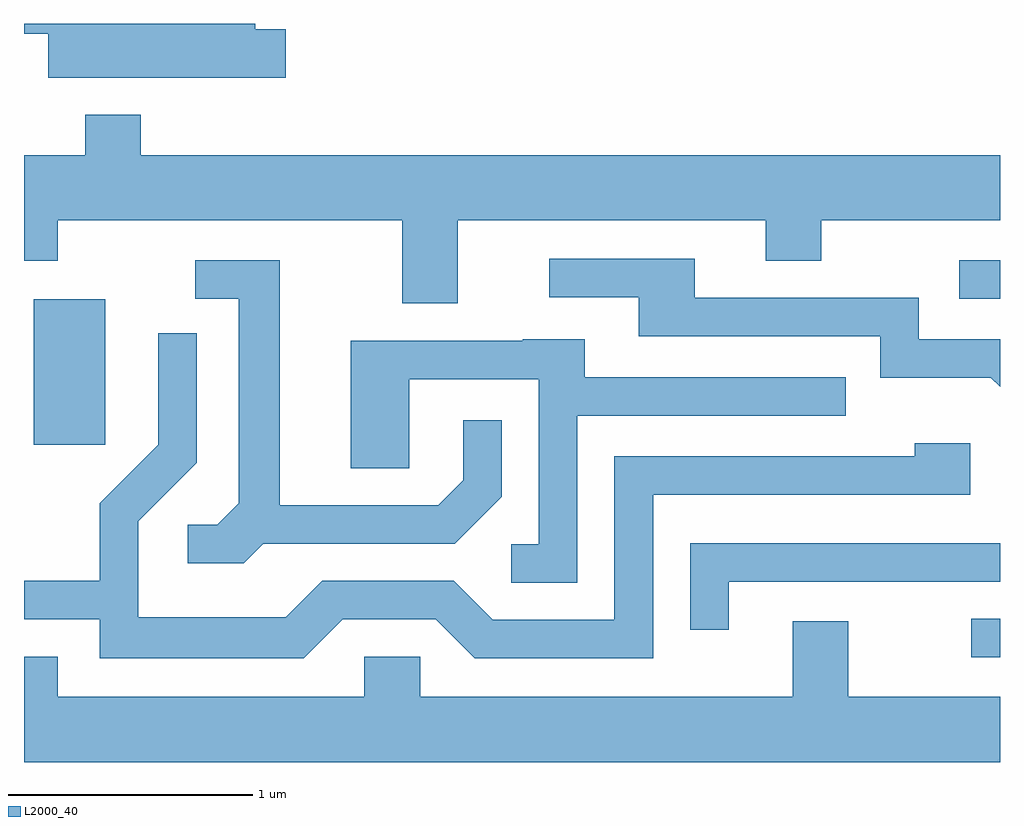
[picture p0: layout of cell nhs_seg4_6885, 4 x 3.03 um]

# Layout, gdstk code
import gdstk
lib = gdstk.Library(unit=1e-6, precision=1e-09)
def R(c, l, rs):  # rectangles x0, y0, x1, y1
    for r in rs: c.add(gdstk.rectangle(r[:2], r[2:], *l))
def P(c, l, *ps):  # polygons
    for p in ps: c.add(gdstk.Polygon(p, *l))
L2000_40 = (2000, 40)

nhs_seg4_6885 = lib.new_cell('nhs_seg4_6885')
R(nhs_seg4_6885, L2000_40, [(391.493,1297.386,391.611,1297.544), (387.651,1298.256,387.944,1298.854), (391.443,1298.856,391.611,1299.014)])
P(nhs_seg4_6885, L2000_40, [(388.684,1299.959),(388.559,1299.959),(388.559,1299.982),(387.611,1299.982),(387.611,1299.941),(387.711,1299.941),(387.711,1299.761),(388.684,1299.761)],
  [(389.389,1299.176),(390.651,1299.176),(390.651,1299.011),(390.879,1299.011),(390.879,1299.176),(391.611,1299.176),(391.611,1299.444),(388.089,1299.444),(388.089,1299.609),(387.861,1299.609),(387.861,1299.444),(387.611,1299.444),(387.611,1299.011),(387.749,1299.011),(387.749,1299.176),(389.161,1299.176),(389.161,1298.836),(389.389,1298.836)],
  [(391.611,1298.689),(391.279,1298.689),(391.279,1298.859),(390.359,1298.859),(390.359,1299.019),(389.763,1299.019),(389.763,1298.861),(390.131,1298.861),(390.131,1298.701),(391.121,1298.701),(391.121,1298.531),(391.574,1298.531),(391.611,1298.494)],
  [(388.592,1297.851),(389.377,1297.851),(389.569,1298.044),(389.569,1298.358),(389.411,1298.358),(389.411,1298.112),(389.309,1298.009),(388.659,1298.009),(388.659,1299.014),(388.313,1299.014),(388.313,1298.856),(388.491,1298.856),(388.491,1298.017),(388.404,1297.929),(388.283,1297.929),(388.283,1297.771),(388.512,1297.771)],
  [(388.917,1297.541),(389.299,1297.541),(389.459,1297.381),(390.189,1297.381),(390.189,1298.051),(391.489,1298.051),(391.489,1298.264),(391.261,1298.264),(391.261,1298.209),(390.031,1298.209),(390.031,1297.539),(389.532,1297.539),(389.372,1297.699),(388.834,1297.699),(388.684,1297.549),(388.079,1297.549),(388.079,1297.944),(388.319,1298.184),(388.319,1298.713),(388.161,1298.713),(388.161,1298.257),(387.921,1298.017),(387.921,1297.699),(387.611,1297.699),(387.611,1297.541),(387.921,1297.541),(387.921,1297.381),(388.757,1297.381)],
  [(389.879,1298.376),(390.978,1298.376),(390.978,1298.534),(389.909,1298.534),(389.909,1298.689),(389.655,1298.689),(389.655,1298.684),(388.951,1298.684),(388.951,1298.161),(389.189,1298.161),(389.189,1298.526),(389.721,1298.526),(389.721,1297.849),(389.608,1297.849),(389.608,1297.691),(389.879,1297.691)],
  [(390.499,1297.696),(391.611,1297.696),(391.611,1297.854),(390.341,1297.854),(390.341,1297.498),(390.499,1297.498)],
  [(391.611,1297.224),(390.989,1297.224),(390.989,1297.534),(390.761,1297.534),(390.761,1297.224),(389.234,1297.224),(389.234,1297.389),(389.006,1297.389),(389.006,1297.224),(387.749,1297.224),(387.749,1297.389),(387.611,1297.389),(387.611,1296.956),(391.611,1296.956)])

lib.write_gds('nhs_seg4_6885.gds')
